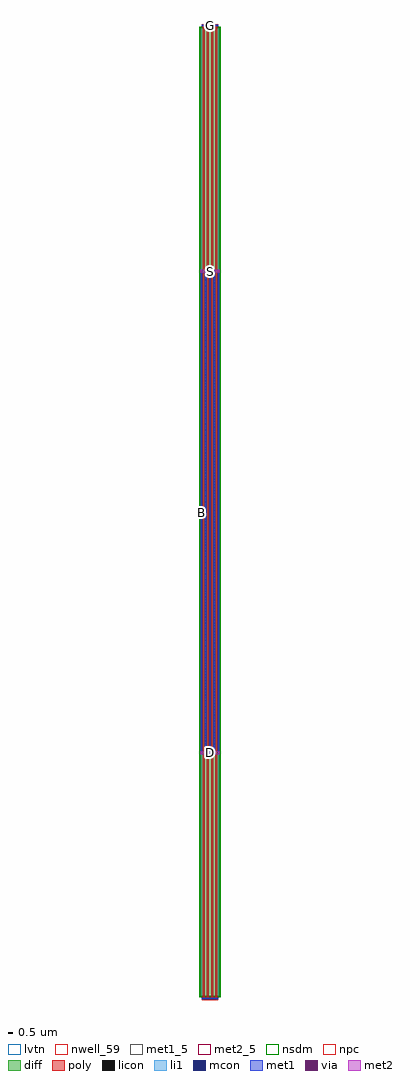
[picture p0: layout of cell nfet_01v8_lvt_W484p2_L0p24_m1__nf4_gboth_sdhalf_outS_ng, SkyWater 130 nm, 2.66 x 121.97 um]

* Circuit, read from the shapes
.subckt nfet_01v8_lvt_W484p2_L0p24_m1__nf4_gboth_sdhalf_outS_ng B D G S
XM1 D G S B sky130_fd_pr__nfet_01v8_lvt w=121.05 l=0.24 m=4
.ends

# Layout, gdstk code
import gdstk
lib = gdstk.Library(unit=1e-6, precision=1e-09)
def R(c, l, rs):  # rectangles x0, y0, x1, y1
    for r in rs: c.add(gdstk.rectangle(r[:2], r[2:], *l))
def A(c, l, x, y, w, h, nx, ny, dx, dy):  # array of equal rectangles
    R(c, l, [(x+i*dx, y+j*dy, x+i*dx+w, y+j*dy+h) for i in range(nx) for j in range(ny)])
nwell_59 = (64, 59)
diff = (65, 20)
poly = (66, 20)
licon = (66, 44)
li1 = (67, 20)
mcon = (67, 44)
met1_5 = (68, 5)
met1 = (68, 20)
via = (68, 44)
met2_5 = (69, 5)
met2 = (69, 20)
nsdm = (93, 44)
npc = (95, 20)
lvtn = (125, 44)

sky130_fd_pr__nfet_01v8_ = lib.new_cell('sky130_fd_pr__nfet_01v8_lvt_94TPJB')
R(sky130_fd_pr__nfet_01v8_, diff, [(-1.205,-60.525,1.205,60.525)])
A(sky130_fd_pr__nfet_01v8_, poly, -0.915, -60.635, 0.24, 121.27, 4, 1, 0.53, 0)
R(sky130_fd_pr__nfet_01v8_, poly, [(-1.06,-60.965,1.06,-60.635), (-1.06,60.635,1.06,60.965)])
A(sky130_fd_pr__nfet_01v8_, licon, -0.88, -60.885, 0.17, 0.17, 4, 2, 0.53, 121.6)
A(sky130_fd_pr__nfet_01v8_, licon, -1.145, -30.175, 0.17, 0.17, 5, 178, 0.53, 0.34)
A(sky130_fd_pr__nfet_01v8_, li1, -1.145, -30.315, 0.17, 60.63, 5, 1, 0.53, 0)
R(sky130_fd_pr__nfet_01v8_, li1, [(-1.06,-60.885,1.06,-60.715), (-1.06,60.715,1.06,60.885)])
A(sky130_fd_pr__nfet_01v8_, mcon, -0.88, -60.885, 0.17, 0.17, 4, 2, 0.53, 121.6)
A(sky130_fd_pr__nfet_01v8_, mcon, -1.145, -30.145, 0.17, 0.17, 5, 168, 0.53, 0.36)
A(sky130_fd_pr__nfet_01v8_, met1, -0.94, -60.915, 0.29, 0.03, 4, 2, 0.53, 0.2)
A(sky130_fd_pr__nfet_01v8_, met1, -1.175, -30.295, 0.23, 60.59, 5, 1, 0.53, 0)
A(sky130_fd_pr__nfet_01v8_, met1, -0.94, 60.685, 0.29, 0.03, 4, 2, 0.53, 0.2)
R(sky130_fd_pr__nfet_01v8_, met1, [(-1.06,-60.885,1.06,-60.715), (-1.06,60.715,1.06,60.885)])
R(sky130_fd_pr__nfet_01v8_, nsdm, [(-1.33,-60.65,1.33,60.65)])
R(sky130_fd_pr__nfet_01v8_, npc, [(-0.98,-60.985,0.98,-60.615), (-0.98,60.615,0.98,60.985)])
R(sky130_fd_pr__nfet_01v8_, lvtn, [(-1.095,-60.705,1.095,60.705)])
sky130_fd_pr__nfet_01v8_.add(gdstk.Label('D0', (-1.06,0), layer=67, texttype=5))
sky130_fd_pr__nfet_01v8_.add(gdstk.Label('G', (0.795,60.8), layer=67, texttype=5))
sky130_fd_pr__nfet_01v8_.add(gdstk.Label('G', (0.265,60.8), layer=67, texttype=5))
sky130_fd_pr__nfet_01v8_.add(gdstk.Label('G', (-0.265,60.8), layer=67, texttype=5))
sky130_fd_pr__nfet_01v8_.add(gdstk.Label('G', (-0.795,60.8), layer=67, texttype=5))
sky130_fd_pr__nfet_01v8_.add(gdstk.Label('S1', (-0.53,0), layer=67, texttype=5))
sky130_fd_pr__nfet_01v8_.add(gdstk.Label('D2', (0,0), layer=67, texttype=5))
sky130_fd_pr__nfet_01v8_.add(gdstk.Label('S3', (0.53,0), layer=67, texttype=5))

nfet_01v8_lvt_w484p2_l0p = lib.new_cell('nfet_01v8_lvt_W484p2_L0p24_m1__nf4_gboth_sdhalf_outS_ng')
R(nfet_01v8_lvt_w484p2_l0p, nwell_59, [(0.05,60.915,0.15,61.015)])
R(nfet_01v8_lvt_w484p2_l0p, met1_5, [(0.145,121.65,2.265,121.88)])
A(nfet_01v8_lvt_w484p2_l0p, met1, 0.015, 90.89, 0.26, 0.32, 3, 1, 1.06, 0)
R(nfet_01v8_lvt_w484p2_l0p, met1, [(0.545,30.72,0.805,31.04), (1.605,30.72,1.865,31.04), (0.145,121.65,2.265,121.88)])
A(nfet_01v8_lvt_w484p2_l0p, via, 0.07, 90.975, 0.15, 0.15, 3, 1, 1.06, 0)
R(nfet_01v8_lvt_w484p2_l0p, via, [(0.6,30.805,0.75,30.955), (1.66,30.805,1.81,30.955)])
R(nfet_01v8_lvt_w484p2_l0p, met2_5, [(0.01,30.72,2.4,31.04), (0.01,90.89,2.4,91.21)])
R(nfet_01v8_lvt_w484p2_l0p, met2, [(0.01,30.72,2.4,31.04), (0.01,90.89,2.4,91.21)])
nfet_01v8_lvt_w484p2_l0p.add(gdstk.Reference(sky130_fd_pr__nfet_01v8_, (1.205,60.965)))
nfet_01v8_lvt_w484p2_l0p.add(gdstk.Label('S', (1.205,91.05), layer=69, texttype=5))
nfet_01v8_lvt_w484p2_l0p.add(gdstk.Label('D', (1.205,30.88), layer=69, texttype=5))
nfet_01v8_lvt_w484p2_l0p.add(gdstk.Label('G', (1.205,121.765), layer=68, texttype=5))
nfet_01v8_lvt_w484p2_l0p.add(gdstk.Label('B', (0.1,60.965), layer=64, texttype=59))

lib.write_gds('nfet_01v8_lvt_W484p2_L0p24_m1__nf4_gboth_sdhalf_outS_ng.gds')
